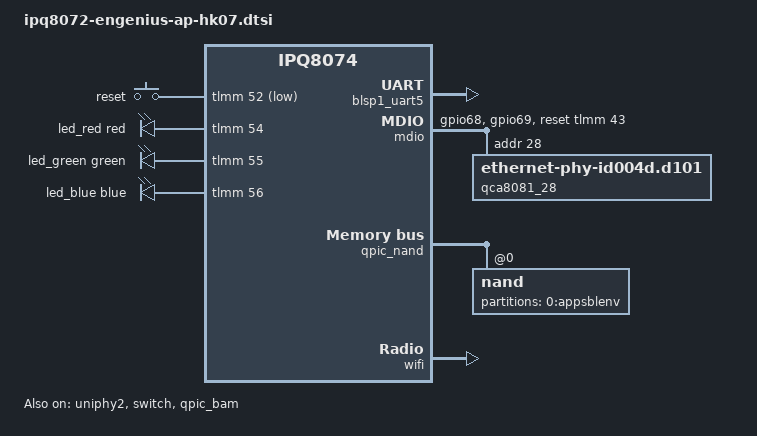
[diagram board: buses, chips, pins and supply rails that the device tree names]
// SPDX-License-Identifier: GPL-2.0-or-later OR BSD-2-Clause
/*
 * Shared hardware for EnGenius AP-HK07 family (IPQ8072A):
 *   EWS377AP v3, ECW230v3, EWS377-FIT
 *
 * All three share identical board hardware: same LEDs (GPIO 54/55/56),
 * same reset button (GPIO 52), same ethernet (QCA8081 @ MDIO addr 28,
 * 2.5GbE on ESS port 6 via uniphy2), same NAND (128k/2048, SMEM
 * partitions), same WiFi (QCN5024 + QCN5054, board_id 0x290).
 *
 * GPIO/LED/PHY values confirmed from vendor device tree fdt@hk07
 * extracted from stock firmware.
 *
 * NSS offload tunings from EnGenius firmware v3.9.3.2 OEM DTS:
 *   - Both NSS cores activated (Core 0 = data, Core 1 = crypto)
 *   - All 17 data-plane offload flags enabled
 *   - NSS clock frequencies matching OEM (max 1690 MHz)
 *   - EIP197 crypto engine with full algorithm suite
 */

/dts-v1/;

#include "ipq8074.dtsi"
#include "ipq8074-nss.dtsi"
#include "ipq8074-hk-cpu.dtsi"
#include "ipq8074-ess.dtsi"
#include <dt-bindings/leds/common.h>
#include <dt-bindings/input/input.h>
#include <dt-bindings/gpio/gpio.h>

/ {
	aliases {
		serial0 = &blsp1_uart5;
		led-boot = &led_blue;
		led-failsafe = &led_red;
		led-running = &led_blue;
		led-upgrade = &led_green;
	};

	chosen {
		stdout-path = "serial0,115200n8";
		bootargs-append = " ubi.block=0,rootfs root=/dev/ubiblock0_1";
	};

	keys {
		compatible = "gpio-keys";

		reset {
			label = "reset";
			gpios = <&tlmm 52 GPIO_ACTIVE_LOW>;
			linux,code = <KEY_RESTART>;
		};
	};

	leds {
		compatible = "gpio-leds";

		led_red: led-red {
			function = LED_FUNCTION_STATUS;
			color = <LED_COLOR_ID_RED>;
			gpios = <&tlmm 54 GPIO_ACTIVE_HIGH>;
		};

		led_green: led-green {
			function = LED_FUNCTION_STATUS;
			color = <LED_COLOR_ID_GREEN>;
			gpios = <&tlmm 55 GPIO_ACTIVE_HIGH>;
		};

		led_blue: led-blue {
			function = LED_FUNCTION_STATUS;
			color = <LED_COLOR_ID_BLUE>;
			gpios = <&tlmm 56 GPIO_ACTIVE_HIGH>;
		};
	};
};

&blsp1_uart5 {
	status = "okay";
};

&tlmm {
	mdio_pins: mdio-pins {
		mdc {
			pins = "gpio68";
			function = "mdc";
			drive-strength = <8>;
			bias-pull-up;
		};

		mdio {
			pins = "gpio69";
			function = "mdio";
			drive-strength = <8>;
			bias-pull-up;
		};
	};
};

&mdio {
	status = "okay";
	pinctrl-0 = <&mdio_pins>;
	pinctrl-names = "default";
	reset-gpios = <&tlmm 43 GPIO_ACTIVE_HIGH>;

	qca8081_28: ethernet-phy@28 {
		compatible = "ethernet-phy-id004d.d101";
		reg = <28>;
	};
};

&uniphy2 {
	status = "okay";
};

&switch {
	status = "okay";

	ports {
		#address-cells = <1>;
		#size-cells = <0>;

		port@0 {
			reg = <0>;
			ethernet = <&edma>;
			phy-mode = "internal";

			fixed-link {
				speed = <1000>;
				full-duplex;
			};
		};

		swport6: port@6 {
			reg = <6>;
			label = "lan";
			phy-handle = <&qca8081_28>;
			phy-mode = "2500base-x";
			pcs-handle = <&uniphy2 0>;
			nvmem-cells = <&macaddr_ubootenv_ethaddr>;
			nvmem-cell-names = "mac-address";
		};
	};
};

&edma {
	status = "okay";
};

&qpic_bam {
	status = "okay";
};

&qpic_nand {
	status = "okay";

	nand@0 {
		reg = <0>;
		nand-ecc-strength = <4>;
		nand-ecc-step-size = <512>;
		nand-bus-width = <8>;

		partitions {
			compatible = "qcom,smem-part";

			partition-0-appsblenv {
				label = "0:appsblenv";
				read-only;

				nvmem-layout {
					compatible = "u-boot,env";
					env-size = <0x40000>;

					macaddr_ubootenv_ethaddr: ethaddr {
					};
				};
			};
		};
	};
};

&wifi {
	status = "okay";
	qcom,ath11k-fw-memory-mode = <1>;
};

/* ---- NSS offload tunings from EnGenius OEM firmware v3.9.3.2 ---- */
/* Source: hk07-oem-native-v3.9.3.2.dts lines 1168-1228 */

/* NSS Core 0: data-plane offloads — all 17 OEM flags enabled */
&nss0 {
	qcom,low-frequency = <0x2ca1c800>;	/* 750 MHz */
	qcom,mid-frequency = <0x59439000>;	/* 1500 MHz */
	qcom,max-frequency = <0x64b54000>;	/* 1690 MHz — OEM max for IPQ8072A */

	qcom,bridge-enabled;
	qcom,ipv4-enabled;
	qcom,ipv4-reasm-enabled;
	qcom,ipv6-enabled;
	qcom,ipv6-reasm-enabled;
	qcom,wlanredirect-enabled;
	qcom,tun6rd-enabled;
	qcom,l2tpv2-enabled;
	qcom,gre-enabled;
	qcom,gre-redir-enabled;
	qcom,gre-redir-mark-enabled;
	qcom,map-t-enabled;
	qcom,portid-enabled;
	qcom,ppe-enabled;
	qcom,pppoe-enabled;
	qcom,pptp-enabled;
	qcom,tunipip6-enabled;
	qcom,shaping-enabled;
	qcom,wlan-dataplane-offload-enabled;
	qcom,vlan-enabled;
	qcom,igs-enabled;
};

/* NSS Core 1: crypto / security offloads */
&nss1 {
	qcom,capwap-enabled;
	qcom,dtls-enabled;
	qcom,crypto-enabled;
	qcom,ipsec-enabled;
	qcom,qvpn-enabled;
	qcom,pvxlan-enabled;
	qcom,clmap-enabled;
	qcom,rmnet_rx-enabled;
};
